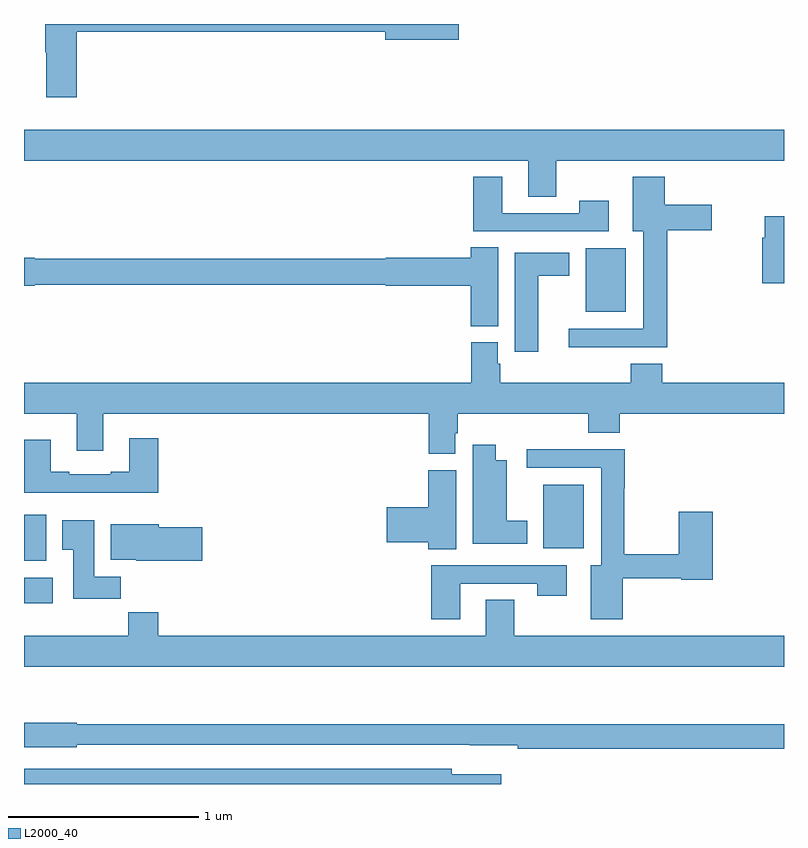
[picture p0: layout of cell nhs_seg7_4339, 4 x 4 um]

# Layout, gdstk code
import gdstk
lib = gdstk.Library(unit=1e-6, precision=1e-09)
def R(c, l, rs):  # rectangles x0, y0, x1, y1
    for r in rs: c.add(gdstk.rectangle(r[:2], r[2:], *l))
def P(c, l, *ps):  # polygons
    for p in ps: c.add(gdstk.Polygon(p, *l))
L2000_40 = (2000, 40)

nhs_seg7_4339 = lib.new_cell('nhs_seg7_4339')
R(nhs_seg7_4339, L2000_40, [(385,1000.952,385.15,1001.086), (385,1001.174,385.117,1001.416), (387.734,1001.24,387.946,1001.575), (387.956,1002.485,388.168,1002.82)])
P(nhs_seg7_4339, L2000_40, [(385.277,1003.96),(386.9,1003.96),(386.9,1003.918),(387.289,1003.918),(387.289,1004),(385.111,1004),(385.111,1003.852),(385.118,1003.852),(385.118,1003.614),(385.277,1003.614)],
  [(387.801,1003.28),(389,1003.28),(389,1003.444),(385,1003.444),(385,1003.28),(387.653,1003.28),(387.653,1003.09),(387.801,1003.09)],
  [(388.078,1003.069),(387.922,1003.069),(387.922,1003.005),(387.517,1003.005),(387.517,1003.195),(387.365,1003.195),(387.365,1002.909),(388.078,1002.909)],
  [(388.385,1002.914),(388.621,1002.914),(388.621,1003.048),(388.372,1003.048),(388.372,1003.195),(388.205,1003.195),(388.205,1002.908),(388.259,1002.908),(388.259,1002.396),(387.867,1002.396),(387.867,1002.299),(388.385,1002.299)],
  [(389,1002.988),(388.898,1002.988),(388.898,1002.875),(388.886,1002.875),(388.886,1002.635),(389,1002.635)],
  [(387.496,1002.824),(387.35,1002.824),(387.35,1002.77),(386.904,1002.77),(386.904,1002.764),(385.056,1002.764),(385.056,1002.77),(385,1002.77),(385,1002.623),(385.056,1002.623),(385.056,1002.628),(386.904,1002.628),(386.904,1002.623),(387.35,1002.623),(387.35,1002.409),(387.496,1002.409)],
  [(387.706,1002.674),(387.871,1002.674),(387.871,1002.796),(387.584,1002.796),(387.584,1002.276),(387.706,1002.276)],
  [(387.271,1001.847),(387.284,1001.847),(387.284,1001.948),(387.971,1001.948),(387.971,1001.849),(388.136,1001.849),(388.136,1001.948),(389,1001.948),(389,1002.112),(388.358,1002.112),(388.358,1002.211),(388.193,1002.211),(388.193,1002.112),(387.506,1002.112),(387.506,1002.213),(387.493,1002.213),(387.493,1002.324),(387.353,1002.324),(387.353,1002.112),(385,1002.112),(385,1001.948),(385.277,1001.948),(385.277,1001.754),(385.417,1001.754),(385.417,1001.948),(387.131,1001.948),(387.131,1001.737),(387.271,1001.737)],
  [(385.706,1001.821),(385.553,1001.821),(385.553,1001.644),(385.457,1001.644),(385.457,1001.631),(385.237,1001.631),(385.237,1001.644),(385.141,1001.644),(385.141,1001.812),(385,1001.812),(385,1001.715),(385.001,1001.715),(385.001,1001.534),(385.706,1001.534)],
  [(387.649,1001.386),(387.541,1001.386),(387.541,1001.704),(387.484,1001.704),(387.484,1001.785),(387.362,1001.785),(387.362,1001.264),(387.649,1001.264)],
  [(388.15,1001.082),(388.458,1001.082),(388.458,1001.074),(388.625,1001.074),(388.625,1001.434),(388.447,1001.434),(388.447,1001.21),(388.158,1001.21),(388.158,1001.557),(388.163,1001.557),(388.163,1001.762),(387.645,1001.762),(387.645,1001.664),(388.037,1001.664),(388.037,1001.152),(387.983,1001.152),(387.983,1000.866),(388.15,1000.866)],
  [(387.274,1001.652),(387.128,1001.652),(387.128,1001.456),(386.91,1001.456),(386.91,1001.273),(387.128,1001.273),(387.128,1001.236),(387.274,1001.236)],
  [(385.508,1001.092),(385.369,1001.092),(385.369,1001.389),(385.202,1001.389),(385.202,1001.233),(385.259,1001.233),(385.259,1000.974),(385.508,1000.974)],
  [(385.939,1001.351),(385.708,1001.351),(385.708,1001.368),(385.457,1001.368),(385.457,1001.18),(385.59,1001.18),(385.59,1001.174),(385.939,1001.174)],
  [(387.295,1001.055),(387.7,1001.055),(387.7,1000.992),(387.856,1000.992),(387.856,1001.151),(387.143,1001.151),(387.143,1000.866),(387.295,1000.866)],
  [(389,1000.78),(387.579,1000.78),(387.579,1000.97),(387.431,1000.97),(387.431,1000.78),(385.706,1000.78),(385.706,1000.904),(385.549,1000.904),(385.549,1000.78),(385,1000.78),(385,1000.616),(389,1000.616)],
  [(389,1000.315),(385.278,1000.315),(385.278,1000.323),(385,1000.323),(385,1000.193),(385.278,1000.193),(385.278,1000.206),(387.346,1000.206),(387.346,1000.205),(387.598,1000.205),(387.598,1000.186),(389,1000.186)],
  [(387.511,1000.051),(387.25,1000.051),(387.25,1000.08),(385,1000.08),(385,1000),(387.511,1000)])

lib.write_gds('nhs_seg7_4339.gds')
